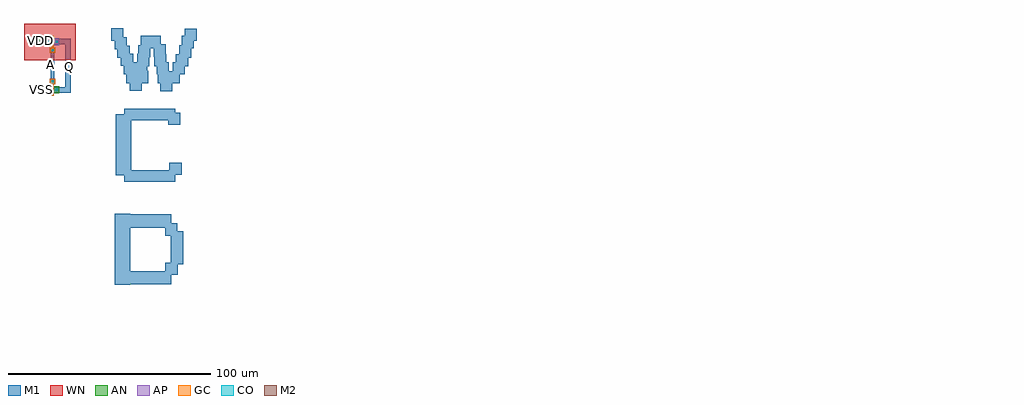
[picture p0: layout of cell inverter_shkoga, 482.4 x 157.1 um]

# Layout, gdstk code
import gdstk
lib = gdstk.Library(unit=1e-6, precision=1e-07)
def R(c, l, rs):  # rectangles x0, y0, x1, y1
    for r in rs: c.add(gdstk.rectangle(r[:2], r[2:], *l))
def P(c, l, *ps):  # polygons
    for p in ps: c.add(gdstk.Polygon(p, *l))
AP = (3, 1)
AN = (3, 2)
GC = (8, 1)
CO = (11, 0)
M1 = (13, 0)
M2 = (20, 0)
WN = (140, 0)

fet_n = lib.new_cell('fet_n')
R(fet_n, AN, [(-3.3,-1.7,3.3,1.7)])
R(fet_n, CO, [(-2.5,-0.5,-1.5,0.5), (1.5,-0.5,2.5,0.5)])
R(fet_n, M1, [(-3.3,-1.3,-0.7,1.3), (0.7,-1.3,3.3,1.3)])
fet_n.add(gdstk.FlexPath([(0,-2.9),(0,2.9)], 1, ends="flush", simple_path=True, layer=8, datatype=1))  # GC

fet_p = lib.new_cell('fet_p')
R(fet_p, AP, [(-3.3,-1.7,3.3,1.7)])
R(fet_p, CO, [(-2.5,-0.5,-1.5,0.5), (1.5,-0.5,2.5,0.5)])
R(fet_p, M1, [(-3.3,-1.3,-0.7,1.3), (0.7,-1.3,3.3,1.3)])
fet_p.add(gdstk.FlexPath([(0,-2.9),(0,2.9)], 1, ends="flush", simple_path=True, layer=8, datatype=1))  # GC

cont_g = lib.new_cell('cont_g')
R(cont_g, GC, [(-1.3,-1.3,1.3,1.3)])
R(cont_g, CO, [(-0.5,-0.5,0.5,0.5)])
R(cont_g, M1, [(-1.3,-1.3,1.3,1.3)])

cont_n = lib.new_cell('cont_n')
R(cont_n, AN, [(-1.3,-1.3,1.3,1.3)])
R(cont_n, CO, [(-0.5,-0.5,0.5,0.5)])
R(cont_n, M1, [(-1.3,-1.3,1.3,1.3)])

cont_p = lib.new_cell('cont_p')
R(cont_p, AP, [(-1.3,-1.3,1.3,1.3)])
R(cont_p, CO, [(-0.5,-0.5,0.5,0.5)])
R(cont_p, M1, [(-1.3,-1.3,1.3,1.3)])

inverter_shkoga = lib.new_cell('inverter_shkoga')
R(inverter_shkoga, M1, [(-724.6,157.6,-716.9,192.7), (-720.7,157.7,-696.7,164.2), (-699.5,162.4,-693.5,168.4), (-696.9,167.7,-690.8,183.9), (-699.7,181.8,-693.7,187.8), (-720.7,185.8,-696.7,192.3), (-719.8,208.5,-694.7,214.1), (-724,211.7,-716.4,241.7), (-697.5,211.9,-691.5,217.9), (-698.1,236.5,-692.1,242.5), (-719.8,238.8,-694.7,244.4), (-702.1,253.2,-696.1,259.2), (-717.2,253.4,-711.2,259.4), (-718.8,257.1,-712.8,263.1), (-703.3,257.1,-697.3,263.1), (-698.3,257.1,-692.3,263.1), (-714,257.2,-708,263.2), (-703.8,261.5,-697.8,267.5), (-696,261.5,-690,267.5), (-720.1,261.6,-714.1,267.6), (-714.5,261.6,-708.5,267.6), (-694.3,265.4,-688.3,271.4), (-705,265.5,-699,271.5), (-713.4,265.6,-707.4,271.6), (-721.5,265.7,-715.5,271.7), (-723.2,269.7,-717.2,275.7), (-692.7,269.8,-686.7,275.8), (-712.9,270,-706.9,276), (-705.3,270.3,-699.3,276.3), (-724.6,273.8,-718.6,279.8), (-707.8,274.5,-701.8,280.5), (-691.4,274.5,-685.4,280.5), (-711.7,274.6,-705.7,280.6), (-690,278.1,-684,284.1), (-726.3,278.2,-720.3,284.2)])
P(inverter_shkoga, M2, [(-287,130.5),(-287,130.5),(-287,130.5),(-287,130.5)],
  [(-287,129.5),(-287,129.5),(-287,129.5),(-287,129.5)])
R(inverter_shkoga, WN, [(-769.4,268.4,-743.9,286.6)])
inverter_shkoga.add(gdstk.FlexPath([(-755.3,273.3),(-755.3,258)], 1.8, ends="flush", simple_path=True, layer=13, datatype=0))  # M1
inverter_shkoga.add(gdstk.FlexPath([(-757.3,277.5),(-762.7,277.5)], 1.8, ends="flush", simple_path=True, layer=13, datatype=0))  # M1
inverter_shkoga.add(gdstk.FlexPath([(-757.3,253.8),(-762.9,253.8)], 1.8, ends="flush", simple_path=True, layer=13, datatype=0))  # M1
inverter_shkoga.add(gdstk.FlexPath([(-753.3,277.7),(-747.7,277.7),(-747.7,253.8),(-753.3,253.8)], 2.6, ends="flush", simple_path=True, layer=13, datatype=0))  # M1
inverter_shkoga.add(gdstk.Reference(fet_n, (-755.3,253.8)))
inverter_shkoga.add(gdstk.Reference(fet_p, (-755.3,277.6)))
inverter_shkoga.add(gdstk.Reference(cont_g, (-755.3,273.4)))
inverter_shkoga.add(gdstk.Reference(cont_g, (-755.3,258)))
inverter_shkoga.add(gdstk.Reference(cont_n, (-762.7,277.6)))
inverter_shkoga.add(gdstk.Reference(cont_p, (-762.9,253.7)))
inverter_shkoga.add(gdstk.Label('A', (-210.6,26.6), layer=140, texttype=0))
inverter_shkoga.add(gdstk.Label('A', (-172.6,-4), layer=140, texttype=0))
inverter_shkoga.add(gdstk.Label('VDD', (-761,278.1), layer=48, texttype=0))
inverter_shkoga.add(gdstk.Label('A', (-756.5,266.4), layer=48, texttype=0))
inverter_shkoga.add(gdstk.Label('Q', (-747.1,265.6), layer=48, texttype=0))
inverter_shkoga.add(gdstk.Label('VSS', (-760.8,254.2), layer=48, texttype=0))

lib.write_gds('inverter_shkoga.gds')
